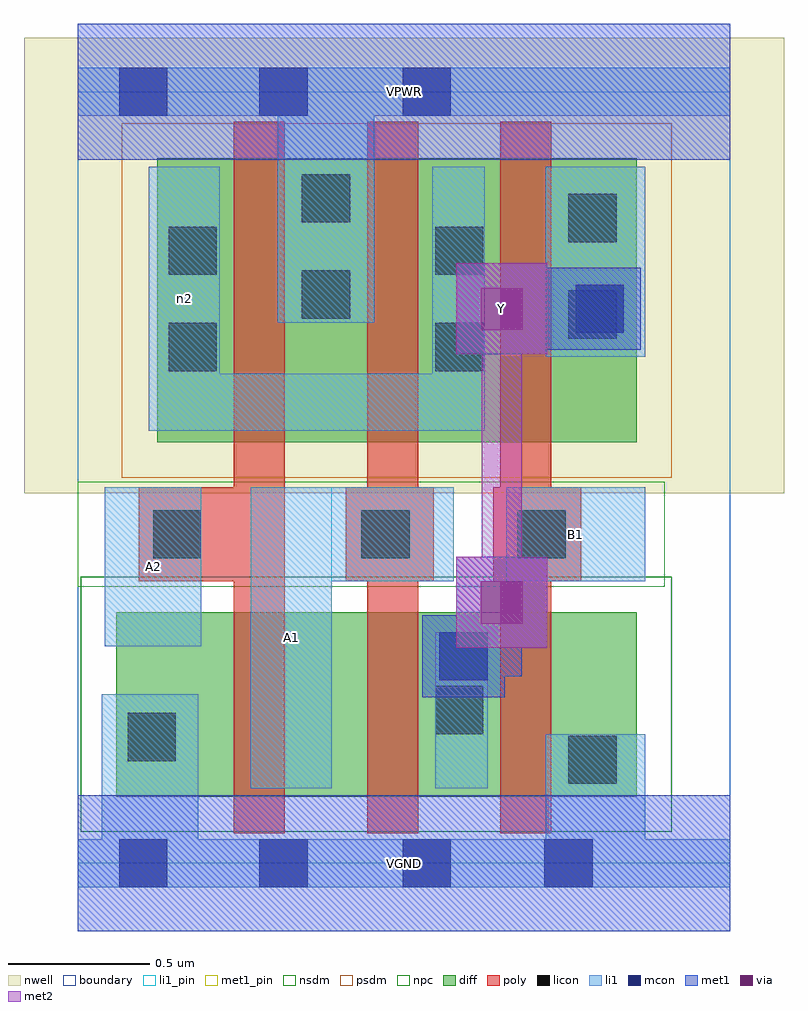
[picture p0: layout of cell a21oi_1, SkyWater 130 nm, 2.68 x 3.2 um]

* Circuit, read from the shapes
.subckt a21oi_1 A1 A2 B1 VGND VPWR Y n2
XM1 n1 A2 VGND VSUBS sky130_fd_pr__nfet_01v8 w=0.65 l=0.18
XM2 Y A1 n1 VSUBS sky130_fd_pr__nfet_01v8 w=0.65 l=0.18
XM3 VGND B1 Y VSUBS sky130_fd_pr__nfet_01v8 w=0.65 l=0.18
XM4 VPWR A2 n2 n3 sky130_fd_pr__pfet_01v8 w=1 l=0.18
XM5 n2 A1 VPWR n3 sky130_fd_pr__pfet_01v8 w=1 l=0.18
XM6 Y B1 n2 n3 sky130_fd_pr__pfet_01v8 w=1 l=0.18
.ends

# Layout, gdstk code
import gdstk
lib = gdstk.Library(unit=1e-6, precision=1e-09)
def R(c, l, rs):  # rectangles x0, y0, x1, y1
    for r in rs: c.add(gdstk.rectangle(r[:2], r[2:], *l))
def A(c, l, x, y, w, h, nx, ny, dx, dy):  # array of equal rectangles
    R(c, l, [(x+i*dx, y+j*dy, x+i*dx+w, y+j*dy+h) for i in range(nx) for j in range(ny)])
nwell = (64, 20)
diff = (65, 20)
poly = (66, 20)
licon = (66, 44)
li1_pin = (67, 16)
li1 = (67, 20)
mcon = (67, 44)
met1_pin = (68, 16)
met1 = (68, 20)
via = (68, 44)
met2 = (69, 20)
nsdm = (93, 44)
psdm = (94, 20)
npc = (95, 20)
boundary = (235, 4)

a21oi_1 = lib.new_cell('a21oi_1')
R(a21oi_1, nwell, [(-0.19,1.305,2.49,2.91), (0,1.305,2.3,2.91)])
R(a21oi_1, diff, [(0.135,0.235,1.97,0.885), (0.28,1.485,1.97,2.485)])
A(a21oi_1, poly, 0.55, 0.105, 0.18, 2.51, 3, 1, 0.47, 0)
R(a21oi_1, poly, [(0.215,0.995,0.73,1.325), (0.945,0.995,1.255,1.325), (1.465,0.995,1.775,1.325)])
R(a21oi_1, licon, [(1.73,0.28,1.9,0.45), (0.175,0.36,0.345,0.53), (1.26,0.455,1.43,0.625), (0.265,1.075,0.435,1.245), (1,1.075,1.17,1.245), (1.55,1.075,1.72,1.245), (0.32,1.735,0.49,1.905), (1.26,1.735,1.43,1.905), (1.73,1.85,1.9,2.02), (0.79,1.92,0.96,2.09), (0.32,2.075,0.49,2.245), (1.26,2.075,1.43,2.245), (1.73,2.19,1.9,2.36), (0.79,2.26,0.96,2.43)])
R(a21oi_1, li1_pin, [(0.61,0.265,0.895,1.325), (0.095,0.765,0.435,1.325), (1.51,0.995,2,1.325)])
R(a21oi_1, li1, [(0,-0.085,2.3,0.085), (0.085,-0.085,0.425,0.595), (1.65,-0.085,2,0.455), (0.61,0.265,0.895,1.325), (1.26,0.265,1.445,0.815), (0.095,0.765,0.435,1.325), (0.61,0.995,1.325,1.325), (1.51,0.995,2,1.325), (0.25,1.525,0.5,2.455), (0.25,1.525,1.435,1.725), (1.25,1.525,1.435,2.455), (1.65,1.785,2,2.455), (0.705,1.905,1.045,2.805), (0,2.635,2.3,2.805)])
R(a21oi_1, mcon, [(0.145,-0.085,0.315,0.085), (0.64,-0.085,0.81,0.085), (1.145,-0.085,1.315,0.085), (1.645,-0.085,1.815,0.085), (1.275,0.645,1.445,0.815), (1.755,1.87,1.925,2.04), (0.145,2.635,0.315,2.805), (0.64,2.635,0.81,2.805), (1.145,2.635,1.315,2.805)])
R(a21oi_1, met1_pin, [(0,-0.24,2.3,0.24), (1.335,1.795,1.655,2.115), (0,2.48,2.3,2.96)])
R(a21oi_1, met1, [(0,-0.24,2.3,0.24), (1.215,0.585,1.505,0.875), (1.29,0.66,1.565,0.8), (1.425,0.66,1.565,0.99), (1.335,0.76,1.655,1.08), (1.335,1.795,1.655,2.115), (1.655,1.81,1.695,2.1), (1.695,1.81,1.985,2.1), (1.425,1.885,1.91,2.025), (0,2.48,2.3,2.96)])
R(a21oi_1, via, [(1.42,0.845,1.57,0.995), (1.42,1.88,1.57,2.03)])
R(a21oi_1, met2, [(1.335,0.76,1.655,1.08), (1.425,0.85,1.565,2.025), (1.335,1.795,1.655,2.115)])
R(a21oi_1, nsdm, [(0.01,0.11,2.095,1.01)])
R(a21oi_1, psdm, [(0.155,1.36,2.095,2.61)])
R(a21oi_1, npc, [(0,0.975,2.07,1.345)])
R(a21oi_1, boundary, [(0,0,2.3,2.72)])
a21oi_1.add(gdstk.Label('A1', (0.752,0.795), layer=67, texttype=5))
a21oi_1.add(gdstk.Label('A2', (0.265,1.045), layer=67, texttype=5))
a21oi_1.add(gdstk.Label('B1', (1.755,1.16), layer=67, texttype=5))
a21oi_1.add(gdstk.Label('n2', (0.375,1.99), layer=67, texttype=5))
a21oi_1.add(gdstk.Label('Y', (1.495,1.955), layer=68, texttype=5))
a21oi_1.add(gdstk.Label('VPWR', (1.15,2.72), layer=68, texttype=5))
a21oi_1.add(gdstk.Label('VGND', (1.15,0), layer=68, texttype=5))
a21oi_1.add(gdstk.Label('A1', (0.752,0.795), layer=67, texttype=16))
a21oi_1.add(gdstk.Label('A2', (0.265,1.045), layer=67, texttype=16))
a21oi_1.add(gdstk.Label('B1', (1.755,1.16), layer=67, texttype=16))
a21oi_1.add(gdstk.Label('Y', (1.495,1.955), layer=68, texttype=16))
a21oi_1.add(gdstk.Label('VPWR', (1.15,2.72), layer=68, texttype=16))
a21oi_1.add(gdstk.Label('VGND', (1.15,0), layer=68, texttype=16))

lib.write_gds('a21oi_1.gds')
